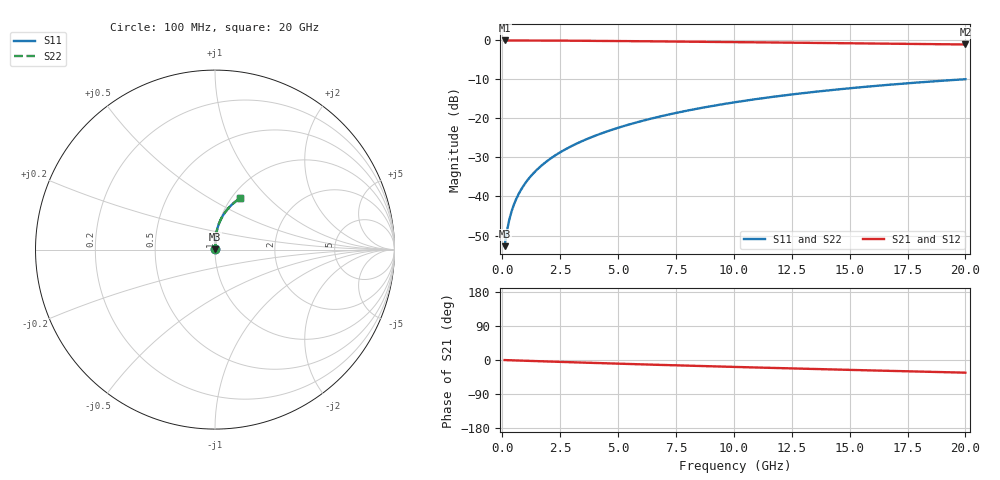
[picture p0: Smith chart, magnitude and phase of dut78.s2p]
! Touchstone file exported from HFSS 2024.1.0
!  File:  C:/UserFiles/LocalFiles/RDL_TSV_Batchsim/temp_RDL_top_78_1778682397.aedt
!  Generated:  10:28:34 PM May 13, 2026
!  Design:  RDL_top
!  Project:  temp_RDL_top_78_1778682397
!  Setup:  Setup1
!  Solution:  Sweep
! Variables:
!  dtsv = 10.80580581um
!  hbump = 3um
!  htsv = 76.91um
!  ldown = 100um
!  lrdl = 459.1um
!  p = 40
!  p1 = 53.91um
!  rhole = 1um
!  t = 450um
!  tdown = 3.915915916um
!  trdl = 4.72um
!  wdown = 15.38538539um
!  wrdl = 22.88um
# GHz S MA R 50.000000
! Terminal data exported
! Port[1] = Box2_T1
! Port[2] = Box2_T2
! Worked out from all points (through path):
!   200 points, 100 MHz to 20 GHz, reference 50 ohm
!   highest |S21| = -0.01 dB at 100 MHz (marker M1); lowest = -1.0 dB at 20 GHz (marker M2)
!   group delay of S21, straight-line fit = 4.6 ps
!   lowest |S11| = -52.7 dB at 100 MHz (marker M3), VSWR 1.00, Z = 50.2 + j0.16 ohm
!   |S11| at or under -10 dB: start of sweep to 19.85 GHz
!   |S22| runs from -52.7 to -9.9 dB; largest |S21 - S12| = 2.4e-15
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0.1  0.00231 43.6  0.9983 -0.2  0.9983 -0.2  0.00231 43.6
! Gamma 0 0 0 0
! Port Impedance 50 0 50 0
0.2  0.003606 60.9  0.9982 -0.4  0.9982 -0.4  0.003606 60.9
0.3  0.00502 68.3  0.9981 -0.6  0.9981 -0.6  0.00502 68.3
0.4  0.006444 72.4  0.9979 -0.8  0.9979 -0.8  0.006444 72.4
0.5  0.007861 75.0  0.9978 -1.0  0.9978 -1.0  0.00786 75.0
0.7  0.01068 78.3  0.9975 -1.4  0.9975 -1.4  0.01068 78.3
0.8  0.01209 79.5  0.9974 -1.6  0.9974 -1.6  0.01209 79.5
1  0.01493 81.2  0.9971 -2.0  0.9971 -2.0  0.01493 81.2
1.2  0.01778 82.5  0.9967 -2.4  0.9967 -2.4  0.01778 82.5
1.4  0.02066 83.4  0.9963 -2.8  0.9963 -2.8  0.02066 83.4
1.7  0.02501 84.4  0.9956 -3.4  0.9956 -3.4  0.02501 84.4
2  0.0294 85.1  0.9947 -4.0  0.9947 -4.0  0.0294 85.1
2.7  0.03984 86.0  0.9923 -5.4  0.9923 -5.4  0.03984 86.0
3.5  0.05207 86.4  0.9889 -6.9  0.9889 -6.9  0.05207 86.4
4.2  0.06305 86.4  0.9855 -8.2  0.9855 -8.2  0.06306 86.4
5  0.0759 86.0  0.9813 -9.7  0.9813 -9.7  0.07591 86.0
6.8  0.1058 84.5  0.9708 -12.9  0.9708 -12.9  0.1058 84.5
8.4  0.1331 82.4  0.961 -15.6  0.961 -15.6  0.1331 82.4
10.1  0.1622 79.9  0.9504 -18.4  0.9504 -18.4  0.1623 79.9
13.4  0.2178 74.6  0.9296 -23.6  0.9296 -23.6  0.2178 74.6
16.7  0.2701 69.2  0.9084 -28.6  0.9084 -28.6  0.2702 69.2
20  0.3183 63.9  0.8868 -33.5  0.8868 -33.5  0.3183 63.9
